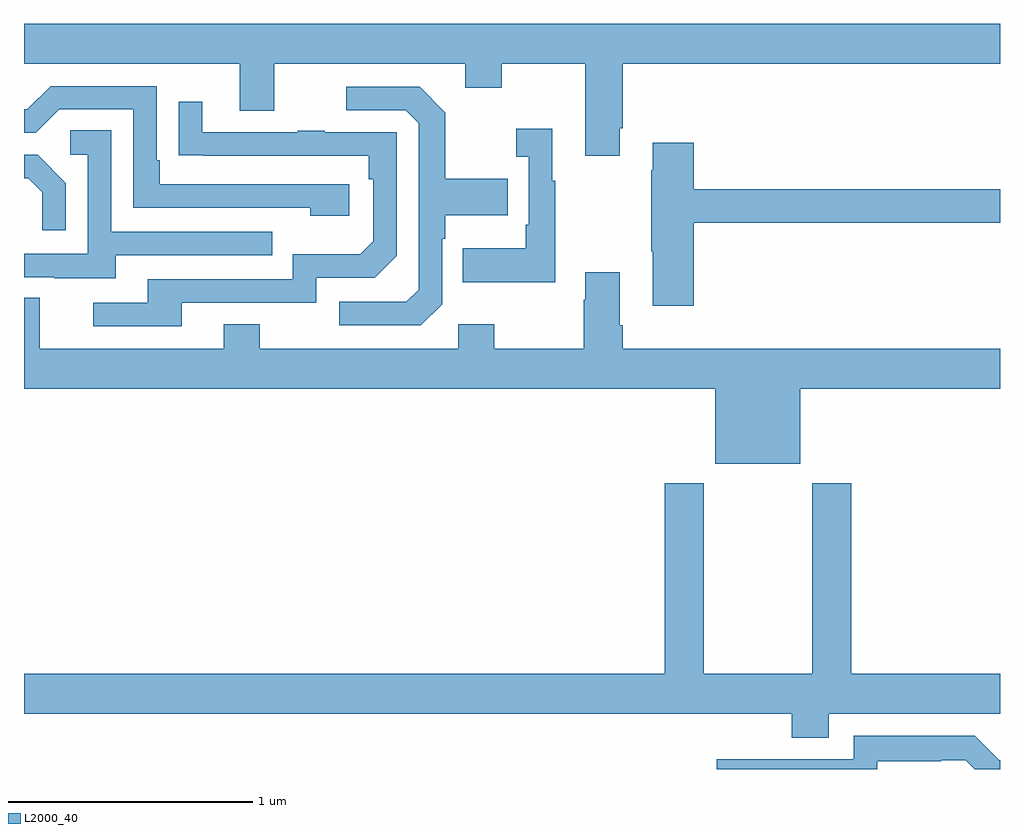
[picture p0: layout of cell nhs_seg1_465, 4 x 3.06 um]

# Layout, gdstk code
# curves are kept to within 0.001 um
import gdstk
lib = gdstk.Library(unit=1e-6, precision=1e-09)
def P(c, l, *ps):  # polygons
    for p in ps: c.add(gdstk.Polygon(p, *l))
L2000_40 = (2000, 40)

nhs_seg1_465 = lib.new_cell('nhs_seg1_465')
P(nhs_seg1_465, L2000_40, [(139.441,524.827),(139.454,524.827),(139.454,525.092),(141,525.092),(141,525.256),(137,525.256),(137,525.092),(137.885,525.092),(137.885,524.898),(138.025,524.898),(138.025,525.092),(138.809,525.092),(138.809,524.993),(138.957,524.993),(138.957,525.092),(139.301,525.092),(139.301,524.715),(139.441,524.715)],
  [(138.334,524.598),(137.557,524.598),(137.557,524.695),(137.544,524.695),(137.544,525),(137.109,525),(137.013,524.904),(137,524.904),(137,524.808),(137.049,524.808),(137.145,524.904),(137.448,524.904),(137.448,524.502),(138.173,524.502),(138.173,524.468),(138.334,524.468)],
  [(138.714,524.106),(138.714,524.375),(138.727,524.375),(138.727,524.471),(138.983,524.471),(138.983,524.619),(138.727,524.619),(138.727,524.891),(138.621,524.997),(138.321,524.997),(138.321,524.901),(138.564,524.901),(138.618,524.847),(138.618,524.166),(138.567,524.115),(138.291,524.115),(138.291,524.019),(138.627,524.019)],
  [(137.647,524.112),(138.198,524.112),(138.198,524.214),(138.438,524.214),(138.528,524.304),(138.528,524.811),(138.233,524.811),(138.233,524.816),(138.121,524.816),(138.121,524.811),(137.731,524.811),(137.731,524.935),(137.635,524.935),(137.635,524.716),(138.412,524.715),(138.412,524.618),(138.432,524.618),(138.432,524.364),(138.379,524.311),(138.102,524.311),(138.102,524.208),(137.507,524.208),(137.507,524.112),(137.283,524.112),(137.283,524.016),(137.647,524.016)],
  [(139.177,524.611),(139.165,524.611),(139.165,524.824),(139.017,524.824),(139.017,524.711),(139.068,524.711),(139.068,524.431),(139.056,524.431),(139.056,524.335),(138.799,524.335),(138.799,524.195),(139.177,524.195)],
  [(137.377,524.307),(138.017,524.307),(138.017,524.403),(137.358,524.403),(137.358,524.819),(137.19,524.819),(137.19,524.718),(137.262,524.718),(137.262,524.313),(137,524.313),(137,524.217),(137.123,524.217),(137.123,524.213),(137.377,524.213)],
  [(139.745,524.44),(141,524.44),(141,524.576),(139.745,524.576),(139.745,524.767),(139.577,524.767),(139.577,524.654),(139.57,524.654),(139.57,524.323),(139.577,524.323),(139.577,524.1),(139.745,524.1)],
  [(137.172,524.602),(137.056,524.718),(137,524.718),(137,524.622),(137.018,524.622),(137.075,524.565),(137.075,524.409),(137.172,524.409)],
  [(140.182,523.76),(141,523.76),(141,523.924),(139.454,523.924),(139.454,524.02),(139.441,524.02),(139.441,524.236),(139.301,524.236),(139.301,524.123),(139.294,524.123),(139.294,523.924),(138.927,523.924),(138.927,524.023),(138.78,524.023),(138.78,523.924),(137.967,523.924),(137.967,524.023),(137.819,524.023),(137.819,523.924),(137.065,523.924),(137.065,524.132),(137,524.132),(137,523.76),(139.832,523.76),(139.832,523.451),(140.182,523.451)],
  [(140.299,522.428),(141,522.428),(141,522.592),(140.39,522.592),(140.39,523.371),(140.23,523.371),(140.23,522.592),(139.785,522.592),(139.785,523.371),(139.625,523.371),(139.625,522.592),(137,522.592),(137,522.428),(140.147,522.428),(140.147,522.329),(140.299,522.329)],
  [(140.496,522.233),(140.759,522.233),(140.759,522.237),(140.859,522.237),(140.897,522.199),(141,522.199),(141,522.237),(140.997,522.237),(140.897,522.337),(140.4,522.337),(140.4,522.24),(139.839,522.24),(139.839,522.199),(140.496,522.199)])

lib.write_gds('nhs_seg1_465.gds')
